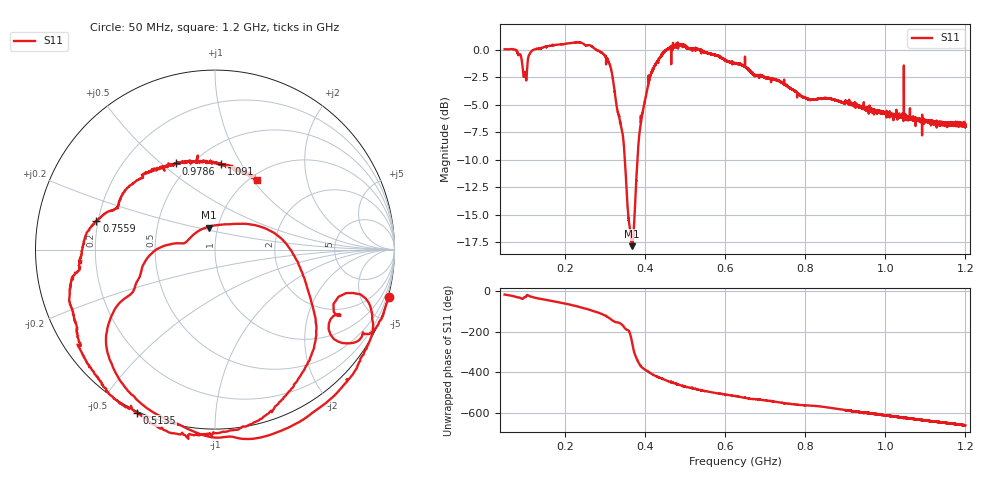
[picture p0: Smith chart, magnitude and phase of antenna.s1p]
! Calibrated high-resolution NanoVNA antenna measurement
# Hz S RI R 50
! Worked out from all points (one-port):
!   40001 points, 50 MHz to 1.2 GHz, reference 50 ohm
!   lowest |S11| = -17.9 dB at 368.3 MHz (marker M1), VSWR 1.29, Z = 45.2 + j11.3 ohm
!   |S11| at or under -10 dB: 350.2 MHz to 381.4 MHz (31.2 MHz wide, 8.53 % of centre)
!   S11 on the Smith chart (normalised r, x): 50 MHz: -0.08, -7.50; 513.5 MHz: -0.01, -0.63; 755.9 MHz: 0.19, +0.11; 978.6 MHz: 0.42, +0.56; 1.091 GHz: 0.67, +0.82; 1.2 GHz: 1.09, +1.06
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5e7  0.9677 -0.2625
8.9905e7  0.7955 -0.51
9.947875e7  0.6816 -0.3611
1.0865e8  0.8615 -0.3059
1.2498e8  0.861 -0.5112
1.9375e8  0.5753 -0.887
2.406412e8  0.207 -1.054
2.82185e8  -0.2274 -0.9638
3.003838e8  -0.4463 -0.8227
3.148162e8  -0.5999 -0.5698
3.375e8  -0.4399 -0.1888
3.61535e8  -0.1499 0.0528
3.682912e8  -0.0358 0.1226
3.787275e8  0.2185 0.1366
3.885312e8  0.4444 -0.0386
4.111288e8  0.5658 -0.4608
4.4767e8  0.2612 -0.9414
4.8125e8  -0.1399 -1.03
5.134788e8  -0.4337 -0.9107
5.690525e8  -0.7132 -0.6309
6.25e8  -0.792 -0.3494
7.558988e8  -0.661 0.1586
7.6875e8  -0.6298 0.1858
9.125e8  -0.3745 0.4351
9.785675e8  -0.2176 0.48
1.05625e9  -0.0377 0.4896
1.09075e9  0.0356 0.4778
1.2e9  0.2384 0.3854
